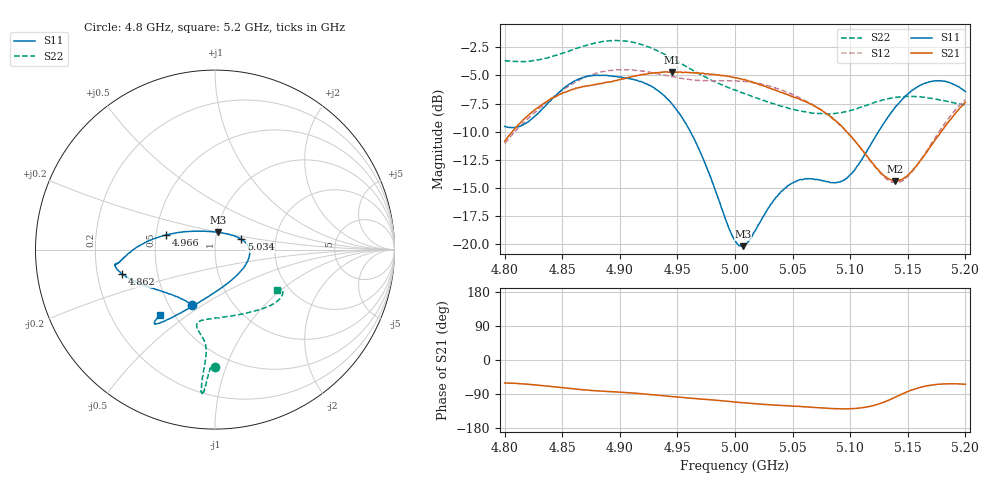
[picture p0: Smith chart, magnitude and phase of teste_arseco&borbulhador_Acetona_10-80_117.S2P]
! Network Analyzer HP8722D
! Hewlett-Packard
! Data name: Linha & Wilkinson
! Saver's name: Rodrigo Anjos
! Comments: Teste da utilização de aquisição
! continua pelo VNA HP8722D
! Time and date: 17/4/2025 15:20
!  Frequency  S11  S21  S12  S22
# HZ  S  MA R 50
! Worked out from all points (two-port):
!   401 points, 4.8 GHz to 5.2 GHz, reference 50 ohm
!   highest |S21| = -4.68 dB at 4.945 GHz (marker M1); lowest = -14.4 dB at 5.139 GHz (marker M2)
!   |S21| within 3 dB of the highest: 4.831 GHz to 5.068 GHz (236.7 MHz wide, 4.78 % of centre); 5.197366 GHz to end of sweep
!   lowest |S11| = -20.2 dB at 5.007 GHz (marker M3), VSWR 1.22, Z = 51 + j9.86 ohm
!   |S11| at or under -10 dB: 4.961 GHz to 5.125 GHz (163.3 MHz wide, 3.24 % of centre)
!   |S22| runs from -8.4 to -1.9 dB; largest |S21 - S12| = 0.88
!   S11 on the Smith chart (normalised r, x): 4.8 GHz: 0.65, -0.45; 4.862 GHz: 0.31, -0.12; 4.966 GHz: 0.57, +0.10; 5.034 GHz: 1.33, +0.16; 5.2 GHz: 0.42, -0.39
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4.8e9  0.3336 -113.0  0.286 -60.6  0.28 -174.8  0.6557 -89.9
4.819e9  0.3461 -132.9  0.3675 -63.8  0.3563 -173.3  0.6495 -91.5
4.84e9  0.435 -152.4  0.4424 -69.7  0.4418 -173.7  0.6802 -92.6
4.862e9  0.5349 -165.3  0.4951 -76.8  0.527 -176.5  0.7426 -93.7
4.867e9  0.5477 -167.3  0.4999 -78.3  0.5435 -177.4  0.7559 -93.9
4.902e9  0.5501 -172.1  0.5428 -85.2  0.5974 175.3  0.8032 -95.3
4.934e9  0.4771 -177.8  0.5792 -93.3  0.5719 172.1  0.7184 -95.7
4.945e9  0.4218 177.0  0.5836 -96.5  0.556 172.3  0.6717 -95.4
4.966e9  0.2829 163.3  0.5764 -101.7  0.5349 173.9  0.5822 -94.8
5e9  0.1035 103.0  0.5489 -110.9  0.5326 176.4  0.4835 -99.0
5.007e9  0.09763 78.9  0.538 -112.8  0.5282 176.4  0.4688 -100.7
5.034e9  0.157 22.0  0.4859 -118.8  0.4966 175.2  0.4201 -103.4
5.05e9  0.1868 5.5  0.4534 -121.7  0.4627 174.2  0.3992 -99.8
5.067e9  0.1947 -12.7  0.417 -124.8  0.4195 173.9  0.382 -91.0
5.086e9  0.1871 -42.6  0.3574 -128.2  0.3557 173.6  0.3804 -76.6
5.097e9  0.1957 -65.3  0.3154 -128.9  0.3159 174.6  0.3888 -67.5
5.134e9  0.3737 -115.9  0.194 -105.3  0.1907 -158.1  0.4439 -43.0
5.139e9  0.4056 -118.9  0.1905 -98.3  0.1873 -150.1  0.4488 -40.7
5.151e9  0.4698 -124.0  0.2042 -82.1  0.2021 -131.5  0.4538 -36.2
5.17e9  0.5284 -128.4  0.2723 -66.4  0.2778 -112.6  0.4453 -31.8
5.184e9  0.5268 -129.8  0.3427 -62.9  0.3542 -107.2  0.4313 -30.8
5.2e9  0.4759 -130.2  0.4273 -64.1  0.4394 -106.2  0.4149 -33.1
